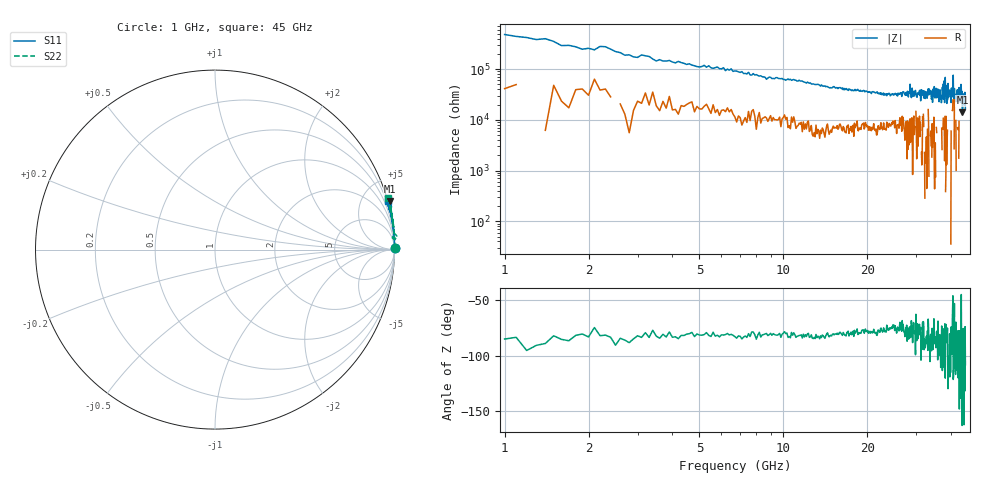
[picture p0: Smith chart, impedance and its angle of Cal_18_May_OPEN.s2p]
!Keysight Technologies,N5247B,MY61255062,A.19.80.06
!Date: Monday, May 18, 2026 11:36:24
!Correction: S11(C  2-Port  )
!S21(C  2-Port  )
!S12(C  2-Port  )
!S22(C  2-Port  )
!S2P File: Measurements: S11, S21, S12, S22:
# Hz S  dB  R 50
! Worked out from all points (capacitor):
!   441 points, 1 GHz to 45 GHz, reference 50 ohm
!   read as one part in series: C = 0.319 fF near 1.2 GHz
!   lowest |Z| = 14 kohm at 43.9 GHz (marker M1)
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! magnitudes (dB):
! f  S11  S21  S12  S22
! 1 GHz  0.0  -73.6  -73.6  0.0
! 1.7 GHz  0.0  -69.3  -69.4  0.0
! 3.5 GHz  0.0  -63.2  -63.6  0.0
! 8.4 GHz  0.0  -57.0  -57.1  0.0
! 15.7 GHz  0.0  -52.3  -52.5  0.0
! 23 GHz  0.0  -49.8  -50.3  0.0
! 30.4 GHz  0.1  -50.4  -49.4  0.0
! 33.6 GHz  0.0  -51.0  -50.7  0.0
! 34.1 GHz  0.0  -49.0  -50.1  0.0
! 35.8 GHz  0.0  -52.3  -52.5  0.0
! 36.8 GHz  0.0  -48.9  -48.5  0.1
! 37.7 GHz  0.0  -55.0  -52.5  0.0
! 38.7 GHz  0.0  -53.7  -49.8  0.0
! 39.7 GHz  0.1  -50.8  -52.3  0.0
! 40.5 GHz  -0.1  -49.4  -50.5  0.0
! 41 GHz  0.0  -46.4  -50.6  0.1
! 41.6 GHz  0.1  -49.0  -52.9  0.1
! 43.5 GHz  -0.1  -52.3  -54.5  0.0
! 43.9 GHz  0.1  -43.0  -48.6  0.0
! 44.1 GHz  0.1  -49.1  -51.6  0.0
! 44.6 GHz  0.0  -48.6  -47.3  0.0
! 45 GHz  0.0  -44.4  -48.4  0.0
